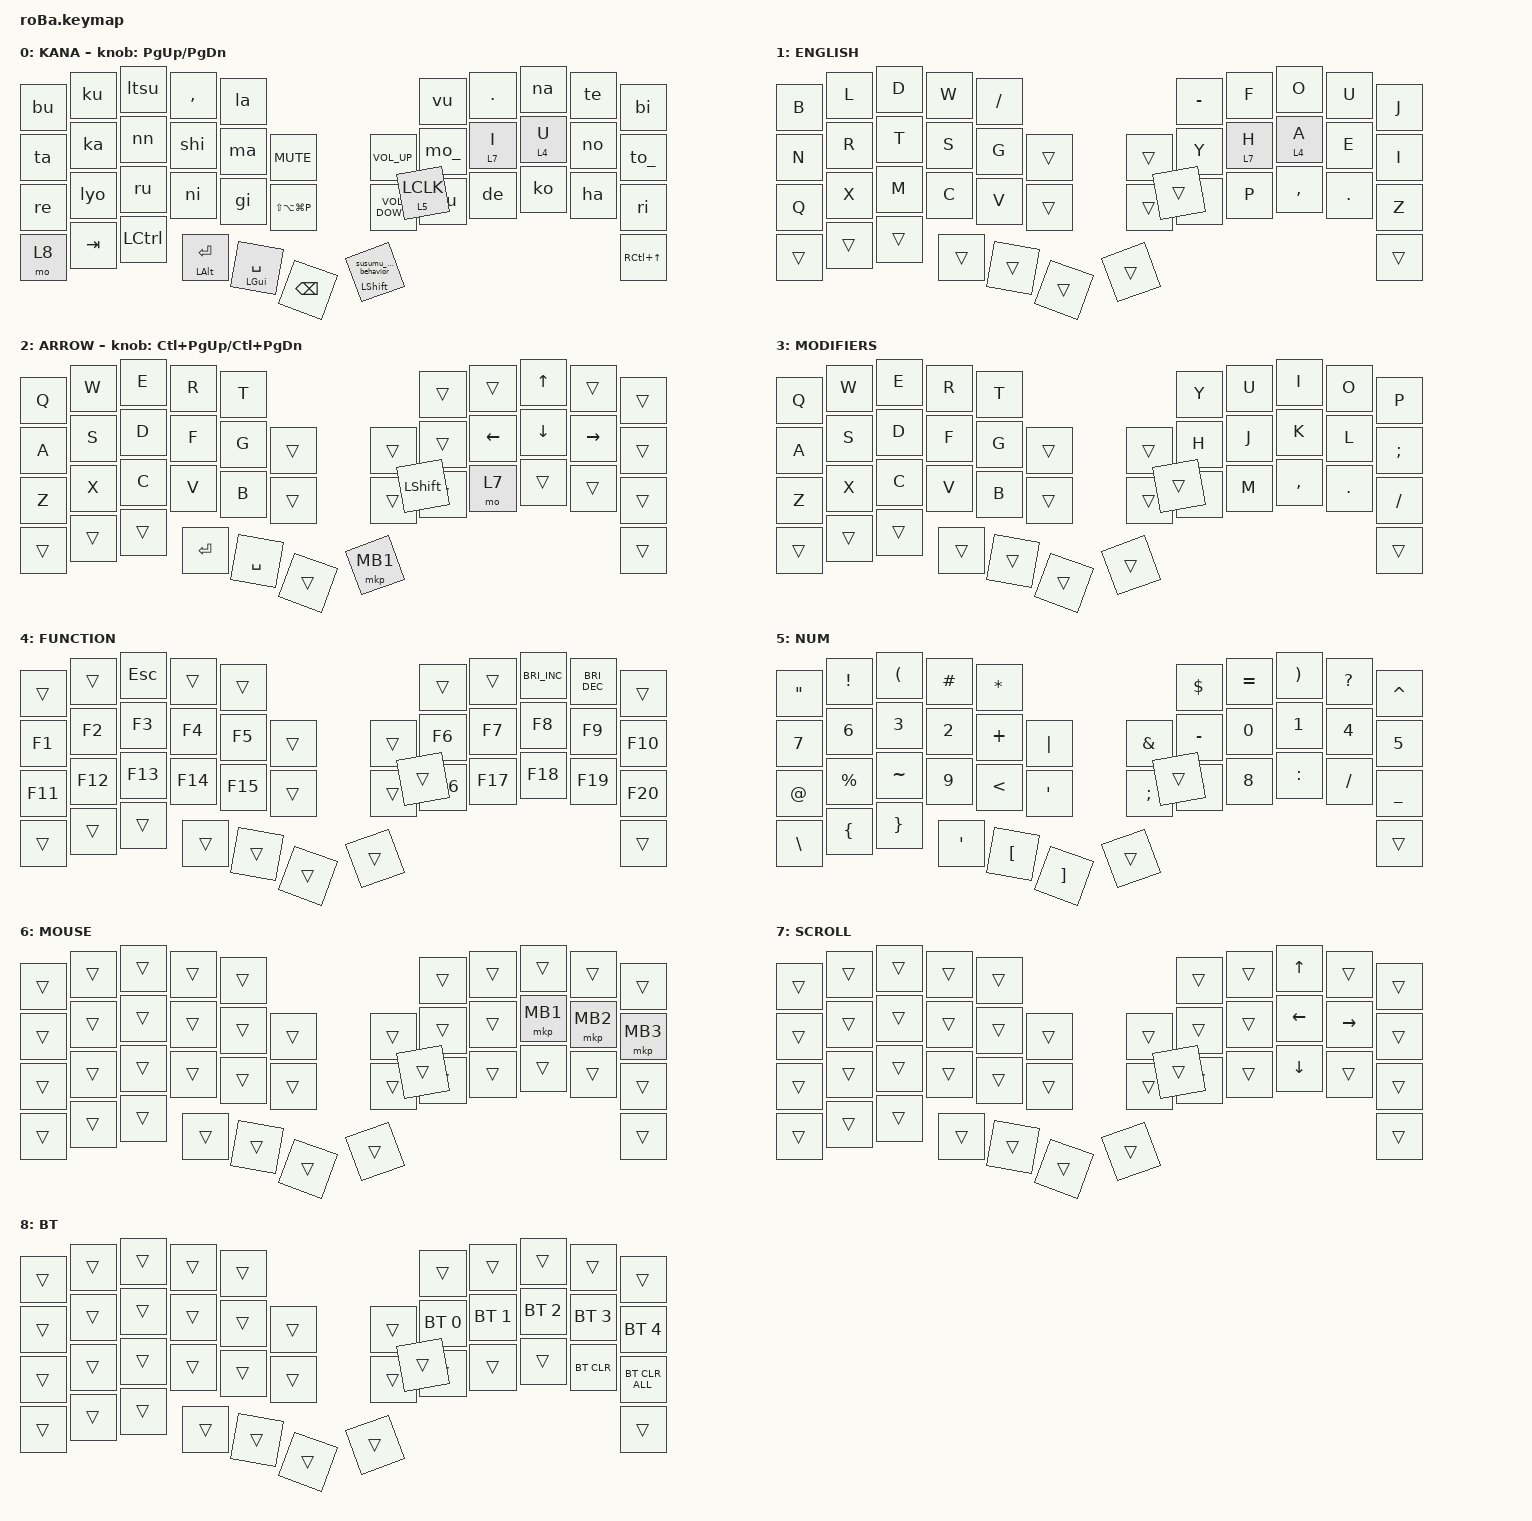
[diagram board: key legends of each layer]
#include <behaviors.dtsi>
#include <dt-bindings/zmk/bt.h>
#include <dt-bindings/zmk/keys.h>
#include <dt-bindings/zmk/pointing.h>

&mt {
    flavor = "balanced";
    quick-tap-ms = <0>;
};

&lt { flavor = "balanced"; };

&trackball {
    arrows {
        layers = <3>;
        bindings = <&zl>, <&zh>, <&zk>, <&zj>;

        tick = <50>;
        wait-ms = <30>;
        tap-ms = <5>;
    };

    arrows2 {
        layers = <4>;
        bindings =
            <&kp RIGHT_ARROW>,
            <&kp LEFT_ARROW>,
            <&kp UP_ARROW>,
            <&kp DOWN_ARROW>;

        tick = <30>;
        wait-ms = <30>;
        tap-ms = <5>;
    };
};

/ {
    combos {
        compatible = "zmk,combos";

        wo {
            bindings = <&wo>;
            key-positions = <18 17>;
            layers = <0 6>;
        };

        a {
            bindings = <&a>;
            key-positions = <19 7>;
            layers = <0 6>;
        };

        su {
            bindings = <&su>;
            key-positions = <13 14>;
            layers = <0 6>;
        };

        tu {
            bindings = <&tsu>;
            key-positions = <13 18>;
            layers = <0 6>;
        };

        ji {
            bindings = <&ji>;
            key-positions = <21 9>;
            layers = <0 6>;
        };

        o {
            bindings = <&kp O>;
            key-positions = <12 2>;
            layers = <0 6>;
        };

        ra {
            bindings = <&ra>;
            key-positions = <20 8>;
            layers = <0 6>;
        };

        wa {
            bindings = <&wa>;
            key-positions = <18 12>;
            layers = <0 6>;
        };

        da {
            bindings = <&da>;
            key-positions = <18 19>;
            layers = <0 6>;
        };

        se {
            bindings = <&se>;
            key-positions = <19 20>;
            layers = <0 6>;
        };

        sa {
            bindings = <&sa>;
            key-positions = <10 0>;
            layers = <0 6>;
        };

        chi {
            bindings = <&chi>;
            key-positions = <20 21>;
            layers = <0 6>;
        };

        ke {
            bindings = <&ke>;
            key-positions = <11 1>;
            layers = <0 6>;
        };

        yo {
            bindings = <&yo>;
            key-positions = <13 12>;
            layers = <0 6>;
        };

        so {
            bindings = <&so>;
            key-positions = <11 12>;
            layers = <0 6>;
        };

        nobasu {
            bindings = <&kp MINUS>;
            key-positions = <11 10>;
            layers = <0 6>;
        };

        me {
            bindings = <&me>;
            key-positions = <13 25>;
            layers = <0 6>;
        };

        lyu {
            bindings = <&lyu>;
            key-positions = <22 10>;
            layers = <0 6>;
        };

        mi {
            bindings = <&mi>;
            key-positions = <21 33>;
            layers = <0 6>;
        };

        do {
            bindings = <&do_>;
            key-positions = <13 20>;
            layers = <0 6>;
        };

        hi {
            bindings = <&hi>;
            key-positions = <18 30>;
            layers = <0 6>;
        };

        e {
            bindings = <&e>;
            key-positions = <11 19>;
            layers = <0 6>;
        };

        ro {
            bindings = <&ro>;
            key-positions = <11 20>;
            layers = <0 6>;
        };

        ba {
            bindings = <&ba>;
            key-positions = <13 19>;
            layers = <0 6>;
        };

        ya {
            bindings = <&ya>;
            key-positions = <12 19>;
            layers = <0 6>;
        };

        go {
            bindings = <&go>;
            key-positions = <10 19>;
            layers = <0 6>;
        };

        hu {
            bindings = <&fu>;
            key-positions = <10 21>;
            layers = <0 6>;
        };

        lya {
            bindings = <&lya>;
            key-positions = <12 20>;
            layers = <0 6>;
        };

        ne {
            bindings = <&ne>;
            key-positions = <10 20>;
            layers = <0 6>;
        };

        ho {
            bindings = <&ho>;
            key-positions = <18 10>;
            layers = <0 6>;
        };

        ge {
            bindings = <&ge>;
            key-positions = <11 21>;
            layers = <0 6>;
        };

        zu {
            bindings = <&zu>;
            key-positions = <12 21>;
            layers = <0 6>;
        };

        he {
            bindings = <&he>;
            key-positions = <13 21>;
            layers = <0 6>;
        };

        bo {
            bindings = <&bo>;
            key-positions = <11 18>;
            layers = <0 6>;
        };

        gu {
            bindings = <&gu>;
            key-positions = <13 3 18>;
            layers = <0 6>;
        };

        be {
            bindings = <&be>;
            key-positions = <13 3 19>;
            layers = <0 6>;
        };

        yu {
            bindings = <&yu>;
            key-positions = <13 3 20>;
            layers = <0 6>;
        };

        nakaguro {
            bindings = <&kp SLASH>;
            key-positions = <11 19 7>;
            layers = <0 6>;
        };

        nu {
            bindings = <&nu>;
            key-positions = <13 3 21>;
            layers = <0 6>;
        };

        za {
            bindings = <&za>;
            key-positions = <13 18 6>;
            layers = <0 6>;
        };

        di {
            bindings = <&di>;
            key-positions = <12 18 6>;
            layers = <0 6>;
        };

        du {
            bindings = <&du>;
            key-positions = <11 18 6>;
            layers = <0 6>;
        };

        ze {
            bindings = <&ze>;
            key-positions = <10 18 6>;
            layers = <0 6>;
        };

        zo {
            bindings = <&zo>;
            key-positions = <12 2 18>;
            layers = <0 6>;
        };

        pa {
            bindings = <&pa>;
            key-positions = <12 2 19>;
            layers = <0 6>;
        };

        pi {
            bindings = <&pi>;
            key-positions = <12 20 2>;
            layers = <0 6>;
        };

        pu {
            bindings = <&pu>;
            key-positions = <12 2 21>;
            layers = <0 6>;
        };

        pe {
            bindings = <&pe>;
            key-positions = <13 19 7>;
            layers = <0 6>;
        };

        po {
            bindings = <&po>;
            key-positions = <12 19 7>;
            layers = <0 6>;
        };

        li {
            bindings = <&li>;
            key-positions = <19 31>;
            layers = <0 6>;
        };

        lu {
            bindings = <&lu>;
            key-positions = <11 23>;
            layers = <0 6>;
        };

        le {
            bindings = <&le>;
            key-positions = <20 32>;
            layers = <0 6>;
        };

        lo {
            bindings = <&lo>;
            key-positions = <12 24>;
            layers = <0 6>;
        };

        ki {
            bindings = <&ki>;
            key-positions = <18 6>;
            layers = <0 6>;
        };

        ga {
            bindings = <&ga>;
            key-positions = <13 3>;
            layers = <0 6>;
        };

        to_function {
            bindings = <&mo 4>;
            key-positions = <41 37>;
        };

        to_arrow {
            bindings = <&layer_layer 2 2>;
            key-positions = <38 41>;
        };

        cmd_opt {
            bindings = <&cmd_opt LEFT_COMMAND LEFT_ALT>;
            key-positions = <38 37>;
        };

        eisuu {
            bindings = <&ja_en>;
            key-positions = <38 12>;
            layers = <0 1>;
        };

        kana {
            bindings = <&en_ja>;
            key-positions = <38 13>;
            layers = <0 1>;
        };

        Command_T {
            bindings = <&kp LG(T)>;
            key-positions = <41 18>;
            layers = <0 1 6>;
        };

        Control_Shift_Tab {
            bindings = <&kp RC(LS(TAB))>;
            key-positions = <41 19>;
            layers = <0 1 6>;
        };

        Control_Tab {
            bindings = <&kp RC(TAB)>;
            key-positions = <41 20>;
            layers = <0 1 6>;
        };

        Command_W {
            bindings = <&kp LG(W)>;
            key-positions = <41 21>;
            layers = <0 1 6>;
        };

        Command_Q {
            bindings = <&kp LG(Q)>;
            key-positions = <41 8>;
            layers = <0 1>;
        };

        Command_Tab {
            bindings = <&command_tab>;
            key-positions = <30 19>;
        };

        Control_Down {
            bindings = <&kp LC(DOWN_ARROW)>;
            key-positions = <41 32>;
            layers = <0 1>;
        };

        Control_Left {
            bindings = <&kp LC(LEFT_ARROW)>;
            key-positions = <41 30>;
        };

        Control_Right {
            bindings = <&kp LC(RIGHT_ARROW)>;
            key-positions = <41 31>;
        };

        Command_R {
            bindings = <&kp LG(R)>;
            key-positions = <41 7>;
            layers = <0 1>;
        };
    };

    macros {
        ka: ka {
            compatible = "zmk,behavior-macro";
            #binding-cells = <0>;
            bindings = <&kp K &kp A>;
            label = "KA";
        };

        ki: ki {
            compatible = "zmk,behavior-macro";
            #binding-cells = <0>;
            bindings = <&kp K &kp I>;
            label = "KI";
        };

        ku: ku {
            compatible = "zmk,behavior-macro";
            #binding-cells = <0>;
            bindings = <&kp K &kp U>;
            label = "KU";
        };

        ke: ke {
            compatible = "zmk,behavior-macro";
            #binding-cells = <0>;
            bindings = <&kp K &kp E>;
            label = "KE";
        };

        ko: ko {
            compatible = "zmk,behavior-macro";
            #binding-cells = <0>;
            bindings = <&kp K &kp O>;
            label = "KO";
        };

        // ---- さ行 ----

        sa: sa {
            compatible = "zmk,behavior-macro";
            #binding-cells = <0>;
            bindings = <&kp S &kp A>;
            label = "SA";
        };

        shi: shi {
            compatible = "zmk,behavior-macro";
            #binding-cells = <0>;
            bindings = <&kp S &kp I>;
            label = "SHI";
        };

        su: su {
            compatible = "zmk,behavior-macro";
            #binding-cells = <0>;
            bindings = <&kp S &kp U>;
            label = "SU";
        };

        se: se {
            compatible = "zmk,behavior-macro";
            #binding-cells = <0>;
            bindings = <&kp S &kp E>;
            label = "SE";
        };

        so: so {
            compatible = "zmk,behavior-macro";
            #binding-cells = <0>;
            bindings = <&kp S &kp O>;
            label = "SO";
        };

        // ---- た行 ----

        ta: ta {
            compatible = "zmk,behavior-macro";
            #binding-cells = <0>;
            bindings = <&kp T &kp A>;
            label = "TA";
        };

        chi: chi {
            compatible = "zmk,behavior-macro";
            #binding-cells = <0>;
            bindings = <&kp C &kp H &kp I>;
            label = "CHI";
        };

        tsu: tsu {
            compatible = "zmk,behavior-macro";
            #binding-cells = <0>;
            bindings = <&kp T &kp S &kp U>;
            label = "TSU";
        };

        te: te {
            compatible = "zmk,behavior-macro";
            #binding-cells = <0>;
            bindings = <&kp T &kp E>;
            label = "TE";
        };

        to_: to {
            compatible = "zmk,behavior-macro";
            #binding-cells = <0>;
            bindings = <&kp T &kp O>;
            label = "TO";
        };

        // ---- な行 ----

        na: na {
            compatible = "zmk,behavior-macro";
            #binding-cells = <0>;
            bindings = <&kp N &kp A>;
            label = "NA";
        };

        ni: ni {
            compatible = "zmk,behavior-macro";
            #binding-cells = <0>;
            bindings = <&kp N &kp I>;
            label = "NI";
        };

        nu: nu {
            compatible = "zmk,behavior-macro";
            #binding-cells = <0>;
            bindings = <&kp N &kp U>;
            label = "NU";
        };

        ne: ne {
            compatible = "zmk,behavior-macro";
            #binding-cells = <0>;
            bindings = <&kp N &kp E>;
            label = "NE";
        };

        no: no {
            compatible = "zmk,behavior-macro";
            #binding-cells = <0>;
            bindings = <&kp N &kp O>;
            label = "NO";
        };

        // ---- は行 ----

        ha: ha {
            compatible = "zmk,behavior-macro";
            #binding-cells = <0>;
            bindings = <&kp H &kp A>;
            label = "HA";
        };

        hi: hi {
            compatible = "zmk,behavior-macro";
            #binding-cells = <0>;
            bindings = <&kp H &kp I>;
            label = "HI";
        };

        fu: fu {
            compatible = "zmk,behavior-macro";
            #binding-cells = <0>;

            // "HU" でもいいけど標準は "FU"

            bindings = <&kp F &kp U>;
            label = "FU";
        };

        he: he {
            compatible = "zmk,behavior-macro";
            #binding-cells = <0>;
            bindings = <&kp H &kp E>;
            label = "HE";
        };

        ho: ho {
            compatible = "zmk,behavior-macro";
            #binding-cells = <0>;
            bindings = <&kp H &kp O>;
            label = "HO";
        };

        // ---- ま行 ----

        ma: ma {
            compatible = "zmk,behavior-macro";
            #binding-cells = <0>;
            bindings = <&kp M &kp A>;
            label = "MA";
        };

        mi: mi {
            compatible = "zmk,behavior-macro";
            #binding-cells = <0>;
            bindings = <&kp M &kp I>;
            label = "MI";
        };

        mu: mu {
            compatible = "zmk,behavior-macro";
            #binding-cells = <0>;
            bindings = <&kp M &kp U>;
            label = "MU";
        };

        me: me {
            compatible = "zmk,behavior-macro";
            #binding-cells = <0>;
            bindings = <&kp M &kp E>;
            label = "ME";
        };

        mo_: mo {
            compatible = "zmk,behavior-macro";
            #binding-cells = <0>;
            bindings = <&kp M &kp O>;
            label = "MO";
        };

        // ---- や行 ----

        ya: ya {
            compatible = "zmk,behavior-macro";
            #binding-cells = <0>;
            bindings = <&kp Y &kp A>;
            label = "YA";
        };

        yu: yu {
            compatible = "zmk,behavior-macro";
            #binding-cells = <0>;
            bindings = <&kp Y &kp U>;
            label = "YU";
        };

        yo: yo {
            compatible = "zmk,behavior-macro";
            #binding-cells = <0>;
            bindings = <&kp Y &kp O>;
            label = "YO";
        };

        // ---- ら行 ----

        ra: ra {
            compatible = "zmk,behavior-macro";
            #binding-cells = <0>;
            bindings = <&kp R &kp A>;
            label = "RA";
        };

        ri: ri {
            compatible = "zmk,behavior-macro";
            #binding-cells = <0>;
            bindings = <&kp R &kp I>;
            label = "RI";
        };

        ru: ru {
            compatible = "zmk,behavior-macro";
            #binding-cells = <0>;
            bindings = <&kp R &kp U>;
            label = "RU";
        };

        re: re {
            compatible = "zmk,behavior-macro";
            #binding-cells = <0>;
            bindings = <&kp R &kp E>;
            label = "RE";
        };

        ro: ro {
            compatible = "zmk,behavior-macro";
            #binding-cells = <0>;
            bindings = <&kp R &kp O>;
            label = "RO";
        };

        // ---- わ・を ----

        wa: wa {
            compatible = "zmk,behavior-macro";
            #binding-cells = <0>;
            bindings = <&kp W &kp A>;
            label = "WA";
        };

        wo: wo {
            compatible = "zmk,behavior-macro";
            #binding-cells = <0>;

            // 現代は "O" でも入力されるけど古いIME互換で "WO"

            bindings = <&kp W &kp O>;
            label = "WO";
        };

        // ---- ん ----

        nn: nn {
            compatible = "zmk,behavior-macro";
            #binding-cells = <0>;

            // IMEによっては N 1回じゃ「あな → あな」になっちゃうので NN 推奨

            bindings = <&kp N &kp N>;
            label = "NN";
        };

        ga: ga {
            compatible = "zmk,behavior-macro";
            #binding-cells = <0>;
            bindings = <&kp G &kp A>;
            label = "GA";
        };

        gi: gi {
            compatible = "zmk,behavior-macro";
            #binding-cells = <0>;
            bindings = <&kp G &kp I>;
            label = "GI";
        };

        gu: gu {
            compatible = "zmk,behavior-macro";
            #binding-cells = <0>;
            bindings = <&kp G &kp U>;
            label = "GU";
        };

        ge: ge {
            compatible = "zmk,behavior-macro";
            #binding-cells = <0>;
            bindings = <&kp G &kp E>;
            label = "GE";
        };

        go: go {
            compatible = "zmk,behavior-macro";
            #binding-cells = <0>;
            bindings = <&kp G &kp O>;
            label = "GO";
        };

        // ---- 濁音（ざ行）----

        za: za {
            compatible = "zmk,behavior-macro";
            #binding-cells = <0>;
            bindings = <&kp Z &kp A>;
            label = "ZA";
        };

        ji: ji {
            compatible = "zmk,behavior-macro";
            #binding-cells = <0>;
            bindings = <&kp J &kp I>;
            label = "JI";
        };

        zu: zu {
            compatible = "zmk,behavior-macro";
            #binding-cells = <0>;
            bindings = <&kp Z &kp U>;
            label = "ZU";
        };

        ze: ze {
            compatible = "zmk,behavior-macro";
            #binding-cells = <0>;
            bindings = <&kp Z &kp E>;
            label = "ZE";
        };

        zo: zo {
            compatible = "zmk,behavior-macro";
            #binding-cells = <0>;
            bindings = <&kp Z &kp O>;
            label = "ZO";
        };

        // ---- 濁音（だ行）----

        da: da {
            compatible = "zmk,behavior-macro";
            #binding-cells = <0>;
            bindings = <&kp D &kp A>;
            label = "DA";
        };

        di: di {
            compatible = "zmk,behavior-macro";
            #binding-cells = <0>;
            bindings = <&kp D &kp I>;
            label = "DI";
        }; // 「ぢ」
        du: du {
            compatible = "zmk,behavior-macro";
            #binding-cells = <0>;
            bindings = <&kp D &kp U>;
            label = "DU";
        }; // 「づ」
        de: de {
            compatible = "zmk,behavior-macro";
            #binding-cells = <0>;
            bindings = <&kp D &kp E>;
            label = "DE";
        };

        do_: do_ {
            compatible = "zmk,behavior-macro";
            #binding-cells = <0>;
            bindings = <&kp D &kp O>;
            label = "DO";
        };

        // ---- 濁音（ば行）----

        ba: ba {
            compatible = "zmk,behavior-macro";
            #binding-cells = <0>;
            bindings = <&kp B &kp A>;
            label = "BA";
        };

        bi: bi {
            compatible = "zmk,behavior-macro";
            #binding-cells = <0>;
            bindings = <&kp B &kp I>;
            label = "BI";
        };

        bu: bu {
            compatible = "zmk,behavior-macro";
            #binding-cells = <0>;
            bindings = <&kp B &kp U>;
            label = "BU";
        };

        be: be {
            compatible = "zmk,behavior-macro";
            #binding-cells = <0>;
            bindings = <&kp B &kp E>;
            label = "BE";
        };

        bo: bo {
            compatible = "zmk,behavior-macro";
            #binding-cells = <0>;
            bindings = <&kp B &kp O>;
            label = "BO";
        };

        // ---- 半濁音（ぱ行）----

        pa: pa {
            compatible = "zmk,behavior-macro";
            #binding-cells = <0>;
            bindings = <&kp P &kp A>;
            label = "PA";
        };

        pi: pi {
            compatible = "zmk,behavior-macro";
            #binding-cells = <0>;
            bindings = <&kp P &kp I>;
            label = "PI";
        };

        pu: pu {
            compatible = "zmk,behavior-macro";
            #binding-cells = <0>;
            bindings = <&kp P &kp U>;
            label = "PU";
        };

        pe: pe {
            compatible = "zmk,behavior-macro";
            #binding-cells = <0>;
            bindings = <&kp P &kp E>;
            label = "PE";
        };

        po: po {
            compatible = "zmk,behavior-macro";
            #binding-cells = <0>;
            bindings = <&kp P &kp O>;
            label = "PO";
        };

        // ---- 小文字 ----

        ltsu: ltsu {
            compatible = "zmk,behavior-macro";
            #binding-cells = <0>;
            bindings = <&kp X &kp T &kp U>;
            label = "LTsu";
        }; // 「っ」
        lya: lya {
            compatible = "zmk,behavior-macro";
            #binding-cells = <0>;
            bindings = <&kp X &kp Y &kp A>;
            label = "LYa";
        };   // 「ゃ」
        lyu: lyu {
            compatible = "zmk,behavior-macro";
            #binding-cells = <0>;
            bindings = <&kp X &kp Y &kp U>;
            label = "LYu";
        };   // 「ゅ」
        lyo: lyo {
            compatible = "zmk,behavior-macro";
            #binding-cells = <0>;
            bindings = <&kp X &kp Y &kp O>;
            label = "LYo";
        };   // 「ょ」
        la: la {
            compatible = "zmk,behavior-macro";
            #binding-cells = <0>;
            bindings = <&kp X &kp A>;
            label = "LA";
        };          // 「ぁ」
        li: li {
            compatible = "zmk,behavior-macro";
            #binding-cells = <0>;
            bindings = <&kp X &kp I>;
            label = "LI";
        };          // 「ぃ」
        lu: lu {
            compatible = "zmk,behavior-macro";
            #binding-cells = <0>;
            bindings = <&kp X &kp U>;
            label = "LU";
        };          // 「ぅ」
        le: le {
            compatible = "zmk,behavior-macro";
            #binding-cells = <0>;
            bindings = <&kp X &kp E>;
            label = "LE";
        };          // 「ぇ」
        lo: lo {
            compatible = "zmk,behavior-macro";
            #binding-cells = <0>;
            bindings = <&kp X &kp O>;
            label = "LO";
        };

        vu: vu {
            compatible = "zmk,behavior-macro";
            #binding-cells = <0>;
            bindings = <&kp V &kp U>;
            label = "VU";
        };

        to_english: command {
            compatible = "zmk,behavior-macro-one-param";
            #binding-cells = <1>;
            bindings =
                <&tog 3 &macro_param_1to1>,
                <&macro_press>,
                <&kp MACRO_PLACEHOLDER>,
                <&macro_pause_for_release>,
                <&tog 3 &macro_param_1to1>,
                <&macro_release>,
                <&kp MACRO_PLACEHOLDER>;

            label = "COMMAND";
        };

        ja_en: ja_en {
            compatible = "zmk,behavior-macro";
            #binding-cells = <0>;
            bindings = <&kp LANGUAGE_2 &to 1>;
            label = "JA_EN";
        };

        en_ja: en_ja {
            compatible = "zmk,behavior-macro";
            #binding-cells = <0>;
            bindings = <&kp LANGUAGE_1 &to 0>;
            label = "EN_JA";
        };

        cmd_opt: cmd_opt {
            compatible = "zmk,behavior-macro-two-param";
            #binding-cells = <2>;
            bindings =
                <&tog 3 &macro_param_1to1>,
                <&macro_press>,
                <&kp MACRO_PLACEHOLDER &macro_param_2to1>,
                <&macro_press>,
                <&kp MACRO_PLACEHOLDER>,
                <&macro_pause_for_release>,
                <&tog 3 &macro_param_1to1>,
                <&macro_release>,
                <&kp MACRO_PLACEHOLDER &macro_param_2to1>,
                <&macro_release>,
                <&kp MACRO_PLACEHOLDER>;

            label = "CMD_OPT";
        };

        command_tab: command_tab {
            compatible = "zmk,behavior-macro";
            #binding-cells = <0>;
            bindings =
                <&macro_press>,
                <&kp LEFT_COMMAND &kp TAB>,
                <&macro_release>,
                <&kp TAB>,
                <&macro_pause_for_release>,
                <&macro_release>,
                <&kp LEFT_COMMAND>;

            label = "COMMAND_TAB";
        };

        zh: zh {
            compatible = "zmk,behavior-macro";
            #binding-cells = <0>;
            bindings =
                <&macro_release>,
                <&kp LEFT_COMMAND>,
                <&macro_tap>,
                <&kp LANGUAGE_1 &kp Z &kp H>;

            label = "ZH";
        };

        zj: zj {
            compatible = "zmk,behavior-macro";
            #binding-cells = <0>;
            bindings =
                <&macro_release>,
                <&kp LEFT_COMMAND>,
                <&macro_tap>,
                <&kp LANGUAGE_1 &kp Z &kp J>;

            label = "ZJ";
        };

        zk: zk {
            compatible = "zmk,behavior-macro";
            #binding-cells = <0>;
            bindings =
                <&macro_release>,
                <&kp LEFT_COMMAND>,
                <&macro_tap>,
                <&kp LANGUAGE_1 &kp Z &kp K>;

            label = "ZK";
        };

        zl: zl {
            compatible = "zmk,behavior-macro";
            #binding-cells = <0>;
            bindings =
                <&macro_release>,
                <&kp LEFT_COMMAND>,
                <&macro_tap>,
                <&kp LANGUAGE_1 &kp Z &kp L>;

            label = "ZL";
        };

        a: a {
            compatible = "zmk,behavior-macro";
            #binding-cells = <0>;
            bindings = <&kp A>;
            label = "A";
        };

        i: i {
            compatible = "zmk,behavior-macro";
            #binding-cells = <0>;
            bindings = <&kp I>;
            label = "i";
        };

        u: u {
            compatible = "zmk,behavior-macro";
            #binding-cells = <0>;
            bindings = <&kp U>;
            label = "u";
        };

        e: e {
            compatible = "zmk,behavior-macro";
            #binding-cells = <0>;
            bindings = <&kp E>;
            label = "E";
        };

        o: o {
            compatible = "zmk,behavior-macro";
            #binding-cells = <0>;
            bindings = <&kp O>;
            label = "O";
        };

        kp_macro: kp_macro {
            compatible = "zmk,behavior-macro-one-param";
            #binding-cells = <1>;
            bindings = <&macro_param_1to1 &kp MACRO_PLACEHOLDER>;
            label = "KP_MACRO";
        };
    };

    behaviors {
        to_modifiers_behavior: to_modifiers_behavior {
            compatible = "zmk,behavior-hold-tap";
            label = "TO_MODIFIERS_BEHAVIOR";
            bindings = <&to_english>, <&kp_macro>;

            #binding-cells = <2>;
            tapping-term-ms = <170>;
            flavor = "balanced";
            hold-while-undecided;
            retro-tap;
        };

        layer_layer: layer_layer {
            compatible = "zmk,behavior-hold-tap";
            label = "LAYER_LAYER";
            #binding-cells = <2>;
            bindings = <&mo>, <&tog>;

            tapping-term-ms = <200>;
        };

        susumu_modoru_behavior: susumu_modoru_behavior {
            compatible = "zmk,behavior-tap-dance";
            label = "SUSUMU_MODORU_BEHAVIOR";
            #binding-cells = <0>;
            bindings = <&kp LG(LEFT_BRACKET)>, <&kp LG(RIGHT_BRACKET)>;

            tapping-term-ms = <400>;
        };

        to_modifiers2_behavior: to_modifiers2_behavior {
            compatible = "zmk,behavior-hold-tap";
            label = "TO_MODIFIERS2_BEHAVIOR";
            bindings = <&kp>, <&susumu_modoru_behavior>;

            #binding-cells = <2>;
            tapping-term-ms = <200>;
            flavor = "balanced";
        };

        lmkp_behavior: lmkp_behavior {
            compatible = "zmk,behavior-hold-tap";
            label = "LMKP_BEHAVIOR";
            bindings = <&mo>, <&mkp>;

            #binding-cells = <2>;
            tapping-term-ms = <300>;
            flavor = "balanced";
        };

        kmkp_behavior: kmkp_behavior {
            compatible = "zmk,behavior-hold-tap";
            label = "KMKP_BEHAVIOR";
            bindings = <&kp>, <&mkp>;

            #binding-cells = <2>;
            tapping-term-ms = <300>;
            flavor = "hold-preferred";
        };

        lkp_behavior: lkp_behavior {
            compatible = "zmk,behavior-hold-tap";
            label = "LKP_BEHAVIOR";
            bindings = <&mo>, <&kp_macro>;

            #binding-cells = <2>;
            tapping-term-ms = <200>;
            flavor = "balanced";
        };
    };

    keymap {
        compatible = "zmk,keymap";

        KANA {
            bindings = <
&bu    &ku      &ltsu             &kp COMMA                              &la                                                                                                 &vu                    &kp PERIOD         &na                &te  &bi
&ta    &ka      &nn               &shi                                   &ma                                    &kp K_MUTE             &kp C_VOLUME_UP                       &mo_                   &lkp_behavior 7 I  &lkp_behavior 4 U  &no  &to_
&re    &lyo     &ru               &ni                                    &gi                                    &kp LS(LA(LG(P)))      &kp C_VOLUME_DOWN                     &mu                    &de                &ko                &ha  &ri
&mo 8  &kp TAB  &kp LEFT_CONTROL  &to_modifiers_behavior LEFT_ALT ENTER  &to_modifiers_behavior LEFT_GUI SPACE  &kp BACKSPACE          &to_modifiers2_behavior LEFT_SHIFT 0  &lmkp_behavior 5 LCLK                                             &kp RC(UP_ARROW)
            >;

            sensor-bindings = <&inc_dec_kp PG_UP PAGE_DOWN>;
        };

        ENGLISH {
            bindings = <
&kp B   &kp L   &kp D   &kp W   &kp FSLH                      &kp MINUS  &kp F              &kp O              &kp U    &kp J
&kp N   &kp R   &kp T   &kp S   &kp G     &trans      &trans  &kp Y      &lkp_behavior 7 H  &lkp_behavior 4 A  &kp E    &kp I
&kp Q   &kp X   &kp M   &kp C   &kp V     &trans      &trans  &kp K      &kp P              &kp COMMA          &kp DOT  &kp Z
&trans  &trans  &trans  &trans  &trans    &trans      &trans  &trans                                                    &trans
            >;
        };

        ARROW {
            bindings = <
&kp Q   &kp W   &kp E   &kp R      &kp T                            &trans          &trans          &kp UP    &trans     &trans
&kp A   &kp S   &kp D   &kp F      &kp G      &trans      &trans    &trans          &kp LEFT_ARROW  &kp DOWN  &kp RIGHT  &trans
&kp Z   &kp X   &kp C   &kp V      &kp B      &trans      &trans    &trans          &mo 7           &trans    &trans     &trans
&trans  &trans  &trans  &kp ENTER  &kp SPACE  &trans      &mkp MB1  &kp LEFT_SHIFT                                       &trans
            >;

            sensor-bindings = <&inc_dec_kp LC(PAGE_UP) LC(PAGE_DOWN)>;
        };

        MODIFIERS {
            bindings = <
&kp Q   &kp W   &kp E   &kp R   &kp T                       &kp Y   &kp U  &kp I      &kp O    &kp P
&kp A   &kp S   &kp D   &kp F   &kp G   &trans      &trans  &kp H   &kp J  &kp K      &kp L    &kp SEMI
&kp Z   &kp X   &kp C   &kp V   &kp B   &trans      &trans  &kp N   &kp M  &kp COMMA  &kp DOT  &kp FSLH
&trans  &trans  &trans  &trans  &trans  &trans      &trans  &trans                             &trans
            >;
        };

        FUNCTION {
            bindings = <
&trans   &trans   &kp ESCAPE  &trans   &trans                       &trans   &trans   &kp C_BRIGHTNESS_INC  &kp C_BRIGHTNESS_DEC  &trans
&kp F1   &kp F2   &kp F3      &kp F4   &kp F5   &trans      &trans  &kp F6   &kp F7   &kp F8                &kp F9                &kp F10
&kp F11  &kp F12  &kp F13     &kp F14  &kp F15  &trans      &trans  &kp F16  &kp F17  &kp F18               &kp F19               &kp F20
&trans   &trans   &trans      &trans   &trans   &trans      &trans  &trans                                                        &trans
            >;
        };

        NUM {
            bindings = <
&kp DOUBLE_QUOTES  &kp EXCLAMATION  &kp LEFT_PARENTHESIS  &kp HASH          &kp ASTERISK                                            &kp DOLLAR        &kp EQUAL  &kp RIGHT_PARENTHESIS  &kp QUESTION  &kp CARET
&kp N7             &kp N6           &kp N3                &kp N2            &kp PLUS          &kp PIPE               &kp AMPERSAND  &kp MINUS         &kp N0     &kp N1                 &kp N4        &kp N5
&kp AT_SIGN        &kp PERCENT      &kp TILDE             &kp N9            &kp LESS_THAN     &kp SINGLE_QUOTE       &kp SEMICOLON  &kp GREATER_THAN  &kp N8     &kp COLON              &kp SLASH     &kp UNDERSCORE
&kp BACKSLASH      &kp LBRC         &kp RBRC              &kp SINGLE_QUOTE  &kp LEFT_BRACKET  &kp RIGHT_BRACKET      &trans         &trans                                                            &trans
            >;
        };

        MOUSE {
            bindings = <
&trans  &trans  &trans  &trans  &trans                      &trans  &trans  &trans    &trans    &trans
&trans  &trans  &trans  &trans  &trans  &trans      &trans  &trans  &trans  &mkp MB1  &mkp MB2  &mkp MB3
&trans  &trans  &trans  &trans  &trans  &trans      &trans  &trans  &trans  &trans    &trans    &trans
&trans  &trans  &trans  &trans  &trans  &trans      &trans  &trans                              &trans
            >;
        };

        SCROLL {
            bindings = <
&trans  &trans  &trans  &trans  &trans                      &trans  &trans  &kp UP_ARROW    &trans           &trans
&trans  &trans  &trans  &trans  &trans  &trans      &trans  &trans  &trans  &kp LEFT_ARROW  &kp RIGHT_ARROW  &trans
&trans  &trans  &trans  &trans  &trans  &trans      &trans  &trans  &trans  &kp DOWN_ARROW  &trans           &trans
&trans  &trans  &trans  &trans  &trans  &trans      &trans  &trans                                           &trans
            >;
        };

        BT {
            bindings = <
&trans  &trans  &trans  &trans  &trans                      &trans        &trans        &trans        &trans        &trans
&trans  &trans  &trans  &trans  &trans  &trans      &trans  &bt BT_SEL 0  &bt BT_SEL 1  &bt BT_SEL 2  &bt BT_SEL 3  &bt BT_SEL 4
&trans  &trans  &trans  &trans  &trans  &trans      &trans  &trans        &trans        &trans        &bt BT_CLR    &bt BT_CLR_ALL
&trans  &trans  &trans  &trans  &trans  &trans      &trans  &trans                                                  &trans
            >;
        };
    };
};
